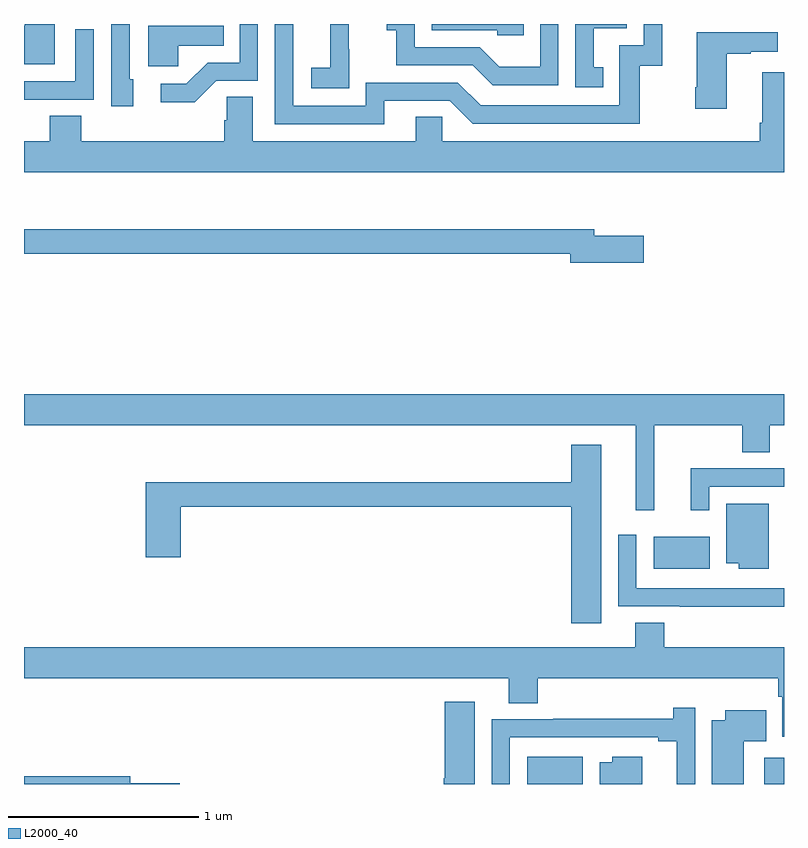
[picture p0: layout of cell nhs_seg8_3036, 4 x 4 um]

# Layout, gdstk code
import gdstk
lib = gdstk.Library(unit=1e-6, precision=1e-09)
def R(c, l, rs):  # rectangles x0, y0, x1, y1
    for r in rs: c.add(gdstk.rectangle(r[:2], r[2:], *l))
def P(c, l, *ps):  # polygons
    for p in ps: c.add(gdstk.Polygon(p, *l))
L2000_40 = (2000, 40)

nhs_seg8_3036 = lib.new_cell('nhs_seg8_3036')
R(nhs_seg8_3036, L2000_40, [(301.649,1159.9,301.942,1160.044), (302.897,1159.9,303,1160.038), (302.315,1161.032,302.608,1161.202)])
P(nhs_seg8_3036, L2000_40, [(301.631,1163.9),(301.146,1163.9),(301.146,1163.868),(301.491,1163.868),(301.491,1163.841),(301.631,1163.841)],
  [(301.812,1163.9),(301.716,1163.9),(301.716,1163.674),(301.502,1163.674),(301.398,1163.778),(301.056,1163.778),(301.056,1163.9),(300.909,1163.9),(300.909,1163.867),(300.958,1163.867),(300.958,1163.682),(301.361,1163.682),(301.466,1163.577),(301.812,1163.577)],
  [(302.048,1163.673),(301.999,1163.673),(301.999,1163.877),(302.172,1163.877),(302.172,1163.9),(301.902,1163.9),(301.902,1163.568),(302.048,1163.568)],
  [(299.575,1163.61),(299.556,1163.61),(299.556,1163.9),(299.46,1163.9),(299.46,1163.466),(299.575,1163.466)],
  [(300.895,1163.496),(301.242,1163.496),(301.362,1163.376),(302.242,1163.376),(302.242,1163.679),(302.36,1163.679),(302.36,1163.9),(302.262,1163.9),(302.262,1163.787),(302.133,1163.787),(302.133,1163.472),(301.404,1163.472),(301.284,1163.592),(300.798,1163.592),(300.798,1163.469),(300.417,1163.469),(300.417,1163.9),(300.321,1163.9),(300.321,1163.373),(300.895,1163.373)],
  [(300.711,1163.767),(300.71,1163.767),(300.71,1163.9),(300.611,1163.9),(300.611,1163.671),(300.513,1163.671),(300.513,1163.561),(300.711,1163.561)],
  [(300.012,1163.601),(300.231,1163.601),(300.231,1163.9),(300.135,1163.9),(300.135,1163.697),(299.966,1163.697),(299.855,1163.586),(299.721,1163.586),(299.721,1163.489),(299.899,1163.489)],
  [(299.161,1163.9),(299.003,1163.9),(299.003,1163.89),(299,1163.89),(299,1163.687),(299.161,1163.687)],
  [(299.811,1163.786),(300.05,1163.786),(300.05,1163.89),(299.654,1163.89),(299.654,1163.678),(299.811,1163.678)],
  [(299.051,1163.502),(299.367,1163.502),(299.367,1163.872),(299.271,1163.872),(299.271,1163.598),(299,1163.598),(299,1163.501),(299.051,1163.501)],
  [(302.698,1163.743),(302.825,1163.743),(302.825,1163.753),(302.968,1163.753),(302.968,1163.857),(302.54,1163.857),(302.54,1163.566),(302.533,1163.566),(302.533,1163.454),(302.698,1163.454)],
  [(303,1163.647),(302.885,1163.647),(302.885,1163.38),(302.873,1163.38),(302.873,1163.284),(301.2,1163.284),(301.2,1163.411),(301.061,1163.411),(301.061,1163.284),(300.205,1163.284),(300.205,1163.516),(300.066,1163.516),(300.066,1163.393),(300.053,1163.393),(300.053,1163.284),(299.3,1163.284),(299.3,1163.417),(299.135,1163.417),(299.135,1163.284),(299,1163.284),(299,1163.12),(303,1163.12)],
  [(302.263,1162.785),(302.002,1162.785),(302.002,1162.819),(299,1162.819),(299,1162.69),(301.874,1162.69),(301.874,1162.643),(302.263,1162.643)],
  [(302.318,1161.788),(302.779,1161.788),(302.779,1161.646),(302.926,1161.646),(302.926,1161.788),(303,1161.788),(303,1161.952),(299,1161.952),(299,1161.788),(302.219,1161.788),(302.219,1161.342),(302.318,1161.342)],
  [(302.038,1161.685),(301.88,1161.685),(301.88,1161.487),(299.642,1161.487),(299.642,1161.093),(299.825,1161.093),(299.825,1161.358),(301.88,1161.358),(301.88,1160.745),(302.038,1160.745)],
  [(302.607,1161.465),(303,1161.465),(303,1161.561),(302.51,1161.561),(302.51,1161.342),(302.607,1161.342)],
  [(302.92,1161.376),(302.696,1161.376),(302.696,1161.062),(302.762,1161.062),(302.762,1161.032),(302.92,1161.032)],
  [(303,1160.931),(302.223,1160.931),(302.223,1161.211),(302.127,1161.211),(302.127,1160.835),(302.452,1160.835),(302.452,1160.834),(303,1160.834)],
  [(303,1160.62),(302.369,1160.62),(302.369,1160.75),(302.216,1160.75),(302.216,1160.62),(299,1160.62),(299,1160.456),(301.55,1160.456),(301.55,1160.326),(301.703,1160.326),(301.703,1160.456),(302.971,1160.456),(302.971,1160.36),(302.991,1160.36),(302.991,1160.15),(303,1160.15)],
  [(301.372,1160.332),(301.214,1160.332),(301.214,1159.929),(301.208,1159.929),(301.208,1159.9),(301.372,1159.9)],
  [(301.557,1160.145),(302.339,1160.145),(302.339,1160.125),(302.435,1160.125),(302.435,1159.9),(302.532,1159.9),(302.532,1160.302),(302.416,1160.302),(302.416,1160.243),(301.786,1160.243),(301.786,1160.241),(301.461,1160.241),(301.461,1159.9),(301.557,1159.9)],
  [(302.788,1160.126),(302.906,1160.126),(302.906,1160.287),(302.69,1160.287),(302.69,1160.236),(302.621,1160.236),(302.621,1159.9),(302.788,1159.9)],
  [(302.254,1160.044),(302.096,1160.044),(302.096,1160.014),(302.03,1160.014),(302.03,1159.9),(302.254,1159.9)],
  [(299.821,1159.904),(299.56,1159.904),(299.56,1159.94),(299,1159.94),(299,1159.9),(299.821,1159.9)])

lib.write_gds('nhs_seg8_3036.gds')
